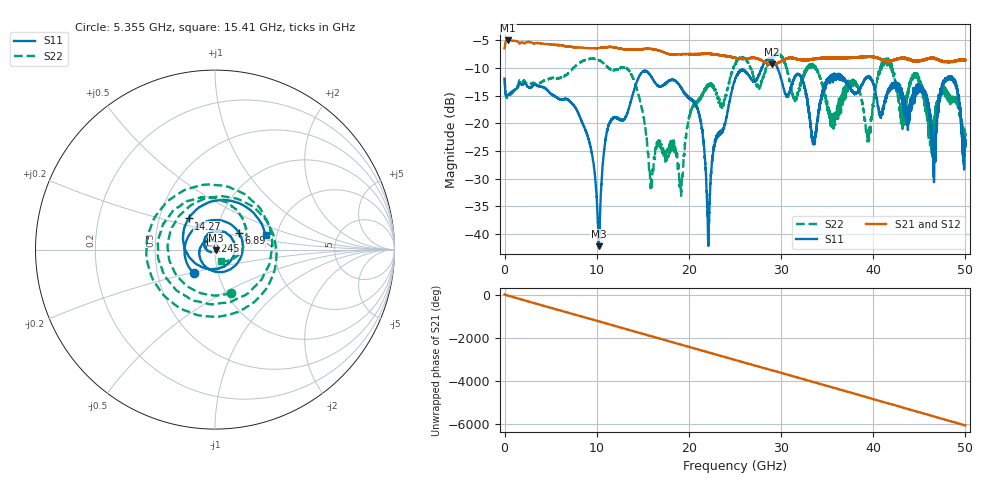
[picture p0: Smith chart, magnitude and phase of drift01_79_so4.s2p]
!Created with skrf (http://scikit-rf.org).
# Hz S RI R 50.0
!freq ReS11 ImS11 ReS21 ImS21 ReS12 ImS12 ReS22 ImS22
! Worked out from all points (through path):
!   10001 points, 300 kHz to 50 GHz, reference 50 ohm
!   highest |S21| = -5.05 dB at 365.3 MHz (marker M1); lowest = -9.4 dB at 28.98 GHz (marker M2)
!   group delay of S21, straight-line fit = 336 ps
!   lowest |S11| = -42.2 dB at 10.21 GHz (marker M3), VSWR 1.02, Z = 50.6 - j0.481 ohm
!   |S11| at or under -10 dB: start of sweep to 27.9 GHz; 29.59313 GHz to 29.59782 GHz (4.695 MHz wide, 0.0159 % of centre); 29.6 GHz to end of sweep
!   |S22| runs from -33.1 to -7.4 dB; largest |S21 - S12| = 0.014
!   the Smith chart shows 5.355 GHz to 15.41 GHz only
!   S11 on the Smith chart (normalised r, x): 5.355 GHz: 0.76, -0.21; 6.89 GHz: 1.29, +0.24; 9.245 GHz: 0.91, +0.09; 14.27 GHz: 0.70, +0.26; 15.41 GHz: 1.75, +0.31
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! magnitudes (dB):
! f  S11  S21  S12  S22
! 300 kHz  -11.9  -6.5  -6.5  -11.8
! 365.3 MHz  -14.9  -5.1  -5.1  -15.2
! 5.355 GHz  -15.0  -5.8  -5.8  -11.8
! 6.89 GHz  -15.8  -6.1  -6.1  -11.0
! 8.335 GHz  -19.5  -6.3  -6.4  -8.9
! 9.245 GHz  -23.7  -6.4  -6.4  -8.4
! 10.21 GHz  -42.2  -6.4  -6.4  -8.6
! 11.23 GHz  -20.7  -6.2  -6.3  -9.9
! 14.27 GHz  -12.9  -6.7  -6.7  -13.4
! 15.41 GHz  -10.7  -6.6  -6.6  -22.8
! 16.67 GHz  -13.3  -6.8  -6.8  -23.3
! 19.15 GHz  -13.5  -7.5  -7.5  -33.0
! 20.86 GHz  -17.1  -7.6  -7.6  -16.0
! 22.12 GHz  -40.7  -7.5  -7.5  -13.2
! 25 GHz  -12.1  -8.2  -8.2  -9.4
! 28.98 GHz  -8.4  -9.4  -9.4  -8.2
! 33.34 GHz  -22.5  -8.5  -8.4  -9.6
! 39.46 GHz  -11.6  -7.9  -8.0  -21.7
! 41.67 GHz  -13.9  -8.7  -8.7  -9.2
! 46.56 GHz  -27.1  -8.3  -8.2  -20.8
! 48.56 GHz  -12.0  -8.8  -8.8  -16.1
! 50 GHz  -23.8  -8.6  -8.6  -22.9
